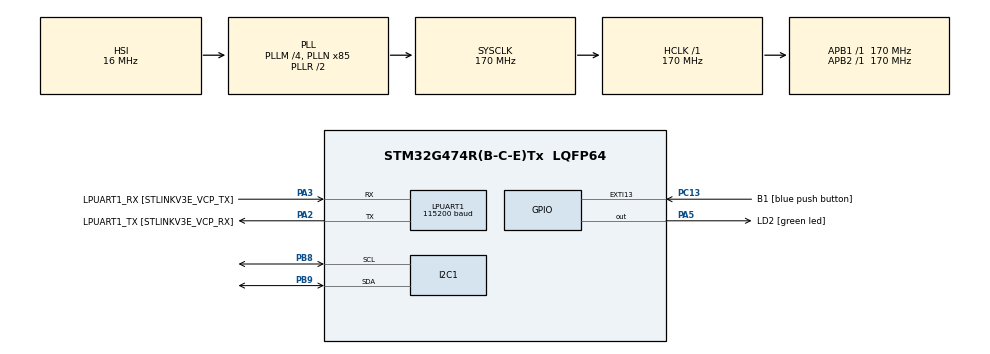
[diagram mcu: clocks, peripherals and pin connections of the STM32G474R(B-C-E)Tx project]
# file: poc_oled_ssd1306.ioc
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I2C1.Timing=0x30A0A7FB
LPUART1.BaudRate=115200
LPUART1.WordLength=UART_WORDLENGTH_8B
Mcu.Family=STM32G4
Mcu.Name=STM32G474R(B-C-E)Tx
Mcu.Package=LQFP64
NVIC.EXTI15_10_IRQn=true\:0\:0\:false\:false\:true\:true\:true\:true
NVIC.PriorityGroup=NVIC_PRIORITYGROUP_4
PA13.GPIO_Label=T_SWDIO
PA13.Mode=Serial_Wire
PA13.Signal=SYS_JTMS-SWDIO
PA14.GPIO_Label=T_SWCLK
PA14.Mode=Serial_Wire
PA14.Signal=SYS_JTCK-SWCLK
PA2.GPIO_Label=LPUART1_TX [STLINKV3E_VCP_RX]
PA2.Mode=Asynchronous
PA2.Signal=LPUART1_TX
PA3.GPIO_Label=LPUART1_RX [STLINKV3E_VCP_TX]
PA3.Mode=Asynchronous
PA3.Signal=LPUART1_RX
PA5.GPIO_Label=LD2 [green led]
PA5.Signal=GPIO_Output
PB3.GPIO_Label=T_SWO
PB3.Signal=SYS_JTDO-SWO
PB8-BOOT0.Mode=I2C
PB8-BOOT0.Signal=I2C1_SCL
PB9.Mode=I2C
PB9.Signal=I2C1_SDA
PC13.GPIO_Label=B1 [blue push button]
PC13.Signal=GPXTI13
PC14-OSC32_IN.Mode=LSE-External-Oscillator
PC14-OSC32_IN.Signal=RCC_OSC32_IN
PC15-OSC32_OUT.Mode=LSE-External-Oscillator
PC15-OSC32_OUT.Signal=RCC_OSC32_OUT
PF0-OSC_IN.Mode=HSE-External-Oscillator
PF0-OSC_IN.Signal=RCC_OSC_IN
PF1-OSC_OUT.Mode=HSE-External-Oscillator
PF1-OSC_OUT.Signal=RCC_OSC_OUT
ProjectManager.HeapSize=0x200
ProjectManager.StackSize=0x400
ProjectManager.TargetToolchain=STM32CubeIDE
RCC.ADC12Freq_Value=170000000
RCC.ADC345Freq_Value=170000000
RCC.AHBFreq_Value=170000000
RCC.APB1Freq_Value=170000000
RCC.APB1TimFreq_Value=170000000
RCC.APB2Freq_Value=170000000
RCC.APB2TimFreq_Value=170000000
RCC.CortexFreq_Value=170000000
RCC.EXTERNAL_CLOCK_VALUE=12288000
RCC.HCLKFreq_Value=170000000
RCC.HSE_VALUE=24000000
RCC.HSI48_VALUE=48000000
RCC.HSI_VALUE=16000000
RCC.PLLM=RCC_PLLM_DIV4
RCC.PLLN=85
RCC.RTCClockSelection=RCC_RTCCLKSOURCE_LSE
RCC.SYSCLKFreq_VALUE=170000000
RCC.SYSCLKSource=RCC_SYSCLKSOURCE_PLLCLK
RCC.USBFreq_Value=170000000
RCC.VCOOutputFreq_Value=340000000
VP_SYS_VS_DBSignals.Mode=DisableDeadBatterySignals
board=NUCLEO-G474RE

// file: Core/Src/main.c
/* USER CODE BEGIN Header */
/**
  ******************************************************************************
  * @file           : main.c
  * @brief          : Main program body
  ******************************************************************************
  * @attention
  *
  * Copyright (c) 2024 STMicroelectronics.
  * All rights reserved.
  *
  * This software is licensed under terms that can be found in the LICENSE file
  * in the root directory of this software component.
  * If no LICENSE file comes with this software, it is provided AS-IS.
  *
  ******************************************************************************
  */
/* USER CODE END Header */
#include "main.h"

/* USER CODE BEGIN Includes */
#include "ssd1306.h"
#include "ssd1306_fonts.h"
/* USER CODE END Includes */

I2C_HandleTypeDef hi2c1;

UART_HandleTypeDef hlpuart1;

/* USER CODE BEGIN PV */
const unsigned char garfield_128x64 [] = {
0x00, 0x00, 0x00, 0x00, 0x00, 0x00, 0x00, 0x00, 0x00, 0x00, 0x00, 0x00, 0x00, 0x00, 0x00, 0x00,
0x00, 0x00, 0x00, 0x00, 0x00, 0x07, 0xFF, 0x00, 0x00, 0x00, 0x00, 0x00, 0x00, 0x00, 0x00, 0x00,
0x00, 0x00, 0x00, 0x00, 0x00, 0x1F, 0xFF, 0xF8, 0x7F, 0xE0, 0x00, 0x00, 0x00, 0x00, 0x00, 0x00,
0x00, 0x00, 0x00, 0x00, 0x00, 0x3F, 0xFF, 0xCF, 0xFF, 0xFE, 0x00, 0x00, 0x00, 0x00, 0x00, 0x00,
0x00, 0x00, 0x00, 0x00, 0x00, 0x3F, 0xFB, 0xE3, 0xFF, 0xF3, 0x80, 0x00, 0x00, 0x00, 0x00, 0x00,
0x00, 0x00, 0x00, 0x00, 0x00, 0x3F, 0xC0, 0xF3, 0xFF, 0xF8, 0xE0, 0x00, 0x00, 0x00, 0x00, 0x00,
0x00, 0x00, 0x00, 0x00, 0x00, 0x1F, 0x00, 0x1F, 0xD9, 0xFC, 0x38, 0x00, 0x00, 0x00, 0x00, 0x00,
0x00, 0x00, 0x00, 0x00, 0x00, 0x0D, 0x00, 0x0F, 0x00, 0x1E, 0x0C, 0x00, 0x00, 0x00, 0x00, 0x00,
0x00, 0x00, 0x00, 0x00, 0x0C, 0x0C, 0x0E, 0x1F, 0xF8, 0x03, 0x04, 0x00, 0x00, 0x00, 0x00, 0x00,
0x00, 0x00, 0x00, 0x00, 0x03, 0x87, 0xF0, 0x07, 0x00, 0x01, 0x86, 0x00, 0x00, 0x00, 0x00, 0x00,
0x00, 0x00, 0x00, 0x00, 0x18, 0x3B, 0x80, 0x18, 0x00, 0x30, 0xC3, 0x00, 0x00, 0x00, 0x00, 0x00,
0x00, 0x00, 0x00, 0x00, 0x00, 0xFE, 0x00, 0x60, 0x00, 0x18, 0xC3, 0x01, 0xC0, 0x00, 0x00, 0x00,
0x00, 0x00, 0x00, 0x00, 0x3F, 0xFC, 0x01, 0x80, 0x00, 0x0F, 0xC3, 0x8F, 0xC0, 0x00, 0x00, 0x00,
0x00, 0x00, 0x00, 0x00, 0x07, 0xF0, 0x03, 0x00, 0x00, 0x0C, 0x07, 0xF0, 0x00, 0x00, 0x00, 0x00,
0x00, 0x00, 0x00, 0x00, 0x0F, 0xE0, 0x0C, 0x00, 0x00, 0x0C, 0x07, 0xFF, 0xF8, 0x00, 0x00, 0x00,
0x00, 0x00, 0x00, 0x00, 0x38, 0xC0, 0x18, 0x00, 0x00, 0x08, 0x0F, 0xFF, 0xF0, 0x00, 0x00, 0x00,
0x00, 0x00, 0x00, 0x00, 0x71, 0x80, 0x30, 0x00, 0x00, 0x08, 0x0F, 0xFC, 0xFC, 0x00, 0x00, 0x00,
0x00, 0x00, 0x00, 0x00, 0xF7, 0x00, 0x60, 0x00, 0x00, 0x18, 0x3F, 0xFE, 0x00, 0x00, 0x00, 0x00,
0x00, 0x00, 0x00, 0x01, 0xFF, 0x00, 0x60, 0x00, 0x00, 0x18, 0x7F, 0xFE, 0x00, 0x00, 0x00, 0x00,
0x00, 0x00, 0x00, 0x03, 0xFF, 0x00, 0xC0, 0x00, 0x00, 0x30, 0xFF, 0x1F, 0x00, 0x00, 0x00, 0x00,
0x00, 0x00, 0x00, 0x03, 0x83, 0xE0, 0xC0, 0x00, 0x00, 0x60, 0x00, 0x03, 0x00, 0x00, 0x00, 0x00,
0x00, 0x00, 0x00, 0x07, 0x03, 0x1F, 0xFF, 0xFF, 0xFF, 0xC0, 0x00, 0x03, 0x80, 0x00, 0x00, 0x00,
0x00, 0x00, 0x00, 0x0E, 0x01, 0x00, 0xE7, 0xC0, 0x03, 0x80, 0x00, 0x0F, 0x80, 0x00, 0x00, 0x00,
0x00, 0x00, 0x00, 0x0F, 0x01, 0x80, 0xE0, 0x00, 0x06, 0x00, 0x00, 0xFF, 0x80, 0x00, 0x00, 0x00,
0x00, 0x00, 0x00, 0x0F, 0x83, 0x7F, 0xF0, 0x00, 0x38, 0x00, 0x26, 0xFF, 0x80, 0x00, 0x00, 0x00,
0x00, 0x00, 0x00, 0x0F, 0xDC, 0x18, 0x1F, 0x87, 0xE0, 0x00, 0x26, 0xEF, 0x80, 0x00, 0x00, 0x00,
0x00, 0x00, 0x00, 0x0F, 0xB8, 0x0E, 0x18, 0x00, 0x30, 0x00, 0x04, 0xCF, 0x80, 0x00, 0x00, 0x00,
0x00, 0x00, 0x00, 0x0F, 0x30, 0x0F, 0xC0, 0x00, 0x18, 0x00, 0x00, 0x8F, 0x80, 0x00, 0x00, 0x00,
0x00, 0x00, 0x00, 0x07, 0x30, 0x38, 0x70, 0x00, 0x18, 0x00, 0x00, 0x0F, 0x00, 0x00, 0x00, 0x00,
0x00, 0x00, 0x00, 0x07, 0x18, 0x00, 0x1F, 0x00, 0x18, 0x3B, 0x80, 0x0E, 0x00, 0x00, 0x00, 0x00,
0x00, 0x00, 0x00, 0x03, 0x8E, 0x00, 0x03, 0x80, 0x70, 0x1F, 0xF8, 0x1C, 0x00, 0x00, 0x00, 0x00,
0x00, 0x00, 0x00, 0x01, 0xFF, 0x80, 0x00, 0x03, 0xE0, 0x1F, 0xFF, 0xF8, 0x00, 0x00, 0x00, 0x00,
0x00, 0x00, 0x00, 0x00, 0x7F, 0x86, 0x00, 0x3F, 0x1F, 0x07, 0xFF, 0xE0, 0x00, 0x00, 0x00, 0x00,
0x00, 0x00, 0x00, 0x00, 0x0F, 0xC3, 0x00, 0x00, 0x3F, 0x01, 0xFF, 0x80, 0x00, 0x00, 0x00, 0x00,
0x00, 0x00, 0x00, 0x00, 0x01, 0xFF, 0x80, 0x00, 0x3F, 0xC7, 0xFC, 0x00, 0x00, 0x00, 0x00, 0x00,
0x00, 0x00, 0x00, 0x00, 0x00, 0x73, 0xE0, 0x07, 0xFF, 0xFF, 0xF8, 0x00, 0x00, 0x00, 0x00, 0x00,
0x00, 0x00, 0x00, 0x00, 0x00, 0xC0, 0x00, 0x07, 0xC0, 0x3F, 0xF8, 0x00, 0x00, 0x00, 0x00, 0x00,
0x00, 0x00, 0x00, 0x00, 0x03, 0x00, 0x00, 0x00, 0x00, 0x3F, 0xF8, 0x00, 0x00, 0x00, 0x00, 0x00,
0x00, 0x00, 0x00, 0x00, 0x0E, 0x00, 0x00, 0x00, 0x00, 0x3E, 0xF8, 0x00, 0x00, 0x00, 0x00, 0x00,
0x00, 0x00, 0x00, 0x00, 0x18, 0x00, 0x00, 0x00, 0x00, 0xA4, 0xF0, 0x00, 0x00, 0x00, 0x00, 0x00,
0x00, 0x00, 0x00, 0x00, 0x70, 0x00, 0x00, 0x16, 0x01, 0xC0, 0x78, 0x00, 0x00, 0x00, 0x00, 0x00,
0x00, 0x00, 0x00, 0x00, 0xE0, 0x00, 0x00, 0x1E, 0x01, 0xC0, 0x3E, 0x00, 0x00, 0x00, 0x00, 0x00,
0x00, 0x00, 0x00, 0x01, 0xC0, 0x00, 0x00, 0x0C, 0x01, 0x80, 0x3F, 0x00, 0x00, 0x00, 0x00, 0x00,
0x00, 0x00, 0x00, 0x03, 0x80, 0x00, 0x00, 0x04, 0x01, 0xF3, 0xFF, 0xC0, 0x00, 0x00, 0x00, 0x00,
0x00, 0x00, 0x00, 0x07, 0x00, 0x00, 0x00, 0x0C, 0x01, 0xEF, 0xF7, 0xE0, 0x00, 0x00, 0x00, 0x00,
0x00, 0x00, 0x00, 0x0E, 0x00, 0x00, 0x00, 0x18, 0x00, 0x07, 0xF0, 0x60, 0x00, 0x00, 0x00, 0x00,
0x00, 0x00, 0x00, 0x0C, 0x00, 0x00, 0x00, 0x18, 0x00, 0x07, 0x80, 0x70, 0x00, 0x00, 0x00, 0x00,
0x00, 0x00, 0x00, 0x18, 0x00, 0x00, 0x00, 0x30, 0x00, 0x06, 0x04, 0xF0, 0x00, 0x00, 0x00, 0x00,
0x00, 0x00, 0x00, 0x38, 0x00, 0x00, 0x00, 0x60, 0x00, 0x0C, 0x1C, 0xF0, 0x00, 0x00, 0x00, 0x00,
0x00, 0x00, 0x00, 0x30, 0x00, 0x00, 0x00, 0xC0, 0x00, 0x1F, 0xFF, 0xF0, 0x00, 0x00, 0x00, 0x00,
0x00, 0x00, 0x00, 0x30, 0x00, 0x00, 0x01, 0x80, 0x00, 0x01, 0xFD, 0xF0, 0x00, 0x00, 0x00, 0x00,
0x00, 0x00, 0x00, 0x30, 0x00, 0x00, 0x03, 0x00, 0x00, 0x00, 0xFD, 0xF0, 0x00, 0x00, 0x00, 0x00,
0x00, 0x00, 0x00, 0x30, 0x00, 0x00, 0x07, 0x00, 0x00, 0x01, 0xC1, 0xE0, 0x00, 0x00, 0x00, 0x00,
0x00, 0x00, 0x00, 0x18, 0x00, 0x00, 0x07, 0x00, 0x00, 0x03, 0x81, 0xE0, 0x00, 0x00, 0x00, 0x00,
0x00, 0x00, 0x00, 0x0C, 0x00, 0x00, 0x07, 0x00, 0x00, 0x07, 0xFF, 0xC0, 0x00, 0x00, 0x00, 0x00,
0x00, 0x00, 0x00, 0x06, 0x00, 0x00, 0x03, 0xC0, 0x00, 0x39, 0xFF, 0x80, 0x00, 0x00, 0x00, 0x00,
0x00, 0x00, 0x00, 0x03, 0x80, 0x00, 0x01, 0xF0, 0x01, 0xE3, 0xFF, 0x00, 0x00, 0x00, 0x00, 0x00,
0x00, 0x00, 0x00, 0x00, 0xE0, 0x00, 0x00, 0x1F, 0x03, 0x8D, 0xFE, 0x00, 0x00, 0x00, 0x00, 0x00,
0x00, 0x00, 0x00, 0x00, 0x1E, 0x00, 0x00, 0x03, 0xFC, 0x3D, 0xFE, 0x00, 0x00, 0x00, 0x00, 0x00,
0x00, 0x00, 0x00, 0x00, 0x01, 0xF8, 0x00, 0x03, 0xC0, 0x3F, 0xFE, 0x00, 0x00, 0x00, 0x00, 0x00,
0x00, 0x00, 0x00, 0x00, 0x00, 0x07, 0xFF, 0xFF, 0xC0, 0x3F, 0xFE, 0x00, 0x00, 0x00, 0x00, 0x00,
0x00, 0x00, 0x00, 0x00, 0x00, 0x03, 0xFF, 0xF1, 0xC0, 0x3F, 0xFE, 0x00, 0x00, 0x00, 0x00, 0x00,
0x00, 0x00, 0x00, 0x00, 0x00, 0x03, 0xFF, 0xE0, 0xC0, 0x3F, 0xFE, 0x00, 0x00, 0x00, 0x00, 0x00,
0x00, 0x00, 0x00, 0x00, 0x00, 0x03, 0xFF, 0xE0, 0xC0, 0x3F, 0x9E, 0x00, 0x00, 0x00, 0x00, 0x00
};

const unsigned char github_logo_64x64[] = {
0x00, 0x00, 0x00, 0x1F, 0xF8, 0x00, 0x00, 0x00, 0x00, 0x00, 0x03, 0xFF, 0xFF, 0x80, 0x00, 0x00,
0x00, 0x00, 0x0F, 0xFF, 0xFF, 0xF0, 0x00, 0x00, 0x00, 0x00, 0x3F, 0xFF, 0xFF, 0xFC, 0x00, 0x00,
0x00, 0x00, 0xFF, 0xFF, 0xFF, 0xFF, 0x00, 0x00, 0x00, 0x03, 0xFF, 0xFF, 0xFF, 0xFF, 0xC0, 0x00,
0x00, 0x07, 0xFF, 0xFF, 0xFF, 0xFF, 0xE0, 0x00, 0x00, 0x0F, 0xFF, 0xFF, 0xFF, 0xFF, 0xF0, 0x00,
0x00, 0x3F, 0xFF, 0xFF, 0xFF, 0xFF, 0xFC, 0x00, 0x00, 0x7F, 0xFF, 0xFF, 0xFF, 0xFF, 0xFE, 0x00,
0x00, 0xFF, 0xFF, 0xFF, 0xFF, 0xFF, 0xFF, 0x00, 0x00, 0xFF, 0xFF, 0xFF, 0xFF, 0xFF, 0xFF, 0x00,
0x01, 0xFF, 0xFF, 0xFF, 0xFF, 0xFF, 0xFF, 0x80, 0x03, 0xFE, 0x3F, 0xFF, 0xFF, 0xFC, 0x7F, 0xC0,
0x07, 0xFE, 0x07, 0xFF, 0xFF, 0xE0, 0x7F, 0xE0, 0x07, 0xFE, 0x01, 0xF8, 0x1F, 0xC0, 0x3F, 0xE0,
0x0F, 0xFC, 0x00, 0x00, 0x00, 0x00, 0x3F, 0xF0, 0x0F, 0xFC, 0x00, 0x00, 0x00, 0x00, 0x3F, 0xF0,
0x1F, 0xFC, 0x00, 0x00, 0x00, 0x00, 0x3F, 0xF8, 0x1F, 0xFC, 0x00, 0x00, 0x00, 0x00, 0x3F, 0xF8,
0x3F, 0xFE, 0x00, 0x00, 0x00, 0x00, 0x3F, 0xFC, 0x3F, 0xFE, 0x00, 0x00, 0x00, 0x00, 0x7F, 0xFC,
0x7F, 0xFC, 0x00, 0x00, 0x00, 0x00, 0x3F, 0xFC, 0x7F, 0xFC, 0x00, 0x00, 0x00, 0x00, 0x1F, 0xFE,
0x7F, 0xF8, 0x00, 0x00, 0x00, 0x00, 0x1F, 0xFE, 0x7F, 0xF8, 0x00, 0x00, 0x00, 0x00, 0x0F, 0xFE,
0x7F, 0xF0, 0x00, 0x00, 0x00, 0x00, 0x0F, 0xFE, 0xFF, 0xF0, 0x00, 0x00, 0x00, 0x00, 0x0F, 0xFF,
0xFF, 0xF0, 0x00, 0x00, 0x00, 0x00, 0x0F, 0xFF, 0xFF, 0xF0, 0x00, 0x00, 0x00, 0x00, 0x07, 0xFF,
0xFF, 0xF0, 0x00, 0x00, 0x00, 0x00, 0x07, 0xFF, 0xFF, 0xF0, 0x00, 0x00, 0x00, 0x00, 0x07, 0xFF,
0xFF, 0xF0, 0x00, 0x00, 0x00, 0x00, 0x0F, 0xFF, 0xFF, 0xF0, 0x00, 0x00, 0x00, 0x00, 0x0F, 0xFF,
0xFF, 0xF0, 0x00, 0x00, 0x00, 0x00, 0x0F, 0xFF, 0xFF, 0xF0, 0x00, 0x00, 0x00, 0x00, 0x0F, 0xFF,
0xFF, 0xF0, 0x00, 0x00, 0x00, 0x00, 0x0F, 0xFF, 0x7F, 0xF8, 0x00, 0x00, 0x00, 0x00, 0x1F, 0xFE,
0x7F, 0xF8, 0x00, 0x00, 0x00, 0x00, 0x1F, 0xFE, 0x7F, 0xFC, 0x00, 0x00, 0x00, 0x00, 0x3F, 0xFE,
0x7F, 0xFC, 0x00, 0x00, 0x00, 0x00, 0x3F, 0xFE, 0x7F, 0xFE, 0x00, 0x00, 0x00, 0x00, 0x7F, 0xFC,
0x3F, 0xFF, 0x00, 0x00, 0x00, 0x00, 0xFF, 0xFC, 0x3F, 0xFF, 0xC0, 0x00, 0x00, 0x01, 0xFF, 0xFC,
0x1F, 0x9F, 0xE0, 0x00, 0x00, 0x07, 0xFF, 0xF8, 0x1F, 0x87, 0xFC, 0x00, 0x00, 0x3F, 0xFF, 0xF8,
0x0F, 0xC3, 0xFF, 0xC0, 0x01, 0xFF, 0xFF, 0xF0, 0x0F, 0xE1, 0xFF, 0x80, 0x01, 0xFF, 0xFF, 0xF0,
0x07, 0xF1, 0xFF, 0x80, 0x00, 0xFF, 0xFF, 0xE0, 0x07, 0xF0, 0xFF, 0x00, 0x00, 0xFF, 0xFF, 0xE0,
0x03, 0xF8, 0x3F, 0x00, 0x00, 0xFF, 0xFF, 0xC0, 0x01, 0xF8, 0x00, 0x00, 0x00, 0xFF, 0xFF, 0x80,
0x00, 0xFC, 0x00, 0x00, 0x00, 0xFF, 0xFF, 0x00, 0x00, 0xFE, 0x00, 0x00, 0x00, 0xFF, 0xFF, 0x00,
0x00, 0x7F, 0x00, 0x00, 0x00, 0xFF, 0xFE, 0x00, 0x00, 0x3F, 0xFF, 0x00, 0x00, 0xFF, 0xFC, 0x00,
0x00, 0x0F, 0xFF, 0x00, 0x00, 0xFF, 0xF0, 0x00, 0x00, 0x07, 0xFF, 0x00, 0x00, 0xFF, 0xE0, 0x00,
0x00, 0x03, 0xFF, 0x00, 0x00, 0xFF, 0xC0, 0x00, 0x00, 0x00, 0xFF, 0x00, 0x00, 0xFF, 0x00, 0x00,
0x00, 0x00, 0x3F, 0x00, 0x00, 0xFC, 0x00, 0x00, 0x00, 0x00, 0x0F, 0x00, 0x00, 0xF0, 0x00, 0x00,
0x00, 0x00, 0x00, 0x00, 0x00, 0x00, 0x00, 0x00, 0x00, 0x00, 0x00, 0x00, 0x00, 0x00, 0x00, 0x00
};

const unsigned char snoopy_48x48 [] = {
	0xff, 0xff, 0xff, 0xff, 0xff, 0xff, 0xff, 0xff, 0xff, 0xff, 0xff, 0xff, 0xff, 0xff, 0xff, 0xff,
	0xff, 0xff, 0xff, 0xfc, 0x07, 0xff, 0xff, 0xff, 0xff, 0xfb, 0xf9, 0xff, 0xff, 0xff, 0xff, 0xf7,
	0xfc, 0x7f, 0xff, 0xff, 0xff, 0xef, 0xff, 0x80, 0x7f, 0xff, 0xff, 0xef, 0xff, 0xff, 0x9f, 0xff,
	0xff, 0xdf, 0xff, 0xff, 0xcf, 0xff, 0xff, 0xdf, 0xff, 0x7f, 0xef, 0xff, 0xff, 0xdf, 0xfe, 0x7f,
	0xf7, 0xff, 0xff, 0xbf, 0xff, 0xff, 0xf7, 0xff, 0xff, 0x81, 0xff, 0xff, 0xf0, 0xff, 0xff, 0x40,
	0xff, 0xff, 0xf2, 0xff, 0xff, 0x48, 0x7f, 0xff, 0xf0, 0xff, 0xff, 0x40, 0x7f, 0xff, 0xf0, 0xff,
	0xff, 0x40, 0xbf, 0xff, 0xe7, 0xff, 0xff, 0x40, 0x3f, 0xff, 0xcf, 0xff, 0xff, 0x80, 0x3f, 0xff,
	0x3f, 0xff, 0xff, 0xa0, 0x3f, 0xfc, 0xff, 0xff, 0xff, 0xc0, 0x3f, 0xf3, 0xff, 0xff, 0xff, 0xe0,
	0x8f, 0x9f, 0xff, 0xff, 0xff, 0xe7, 0x77, 0xbf, 0xff, 0xff, 0xff, 0xf8, 0xfb, 0x3f, 0xff, 0xff,
	0xff, 0xff, 0xf8, 0x1f, 0xff, 0xff, 0xff, 0xff, 0xfb, 0xcf, 0xff, 0xff, 0xff, 0xff, 0xfb, 0xef,
	0xff, 0xff, 0xff, 0xff, 0xf7, 0xf7, 0xff, 0xff, 0xff, 0xff, 0xf7, 0xf3, 0xff, 0xff, 0xff, 0xff,
	0xf7, 0x7b, 0xff, 0xff, 0xff, 0xff, 0xf7, 0x7d, 0xff, 0xff, 0xff, 0xff, 0xe7, 0xfd, 0xff, 0xff,
	0xff, 0xff, 0xe3, 0xbd, 0xff, 0xff, 0xff, 0xff, 0xe7, 0xbc, 0xff, 0xff, 0xff, 0xff, 0xe7, 0xbc,
	0xff, 0xff, 0xff, 0xff, 0xe9, 0xb9, 0xff, 0xff, 0xff, 0xff, 0x24, 0x73, 0xff, 0xff, 0xff, 0xfe,
	0xe7, 0xef, 0xff, 0xff, 0xff, 0xff, 0xb7, 0xdf, 0xff, 0xff, 0xff, 0xff, 0xf6, 0x7f, 0xff, 0xff,
	0xff, 0xff, 0xf7, 0x60, 0xff, 0xff, 0xff, 0xff, 0xff, 0x07, 0x7f, 0xff, 0xff, 0xff, 0xef, 0xfd,
	0xbf, 0xff, 0xff, 0xff, 0xdf, 0xfe, 0x3f, 0xff, 0xff, 0xff, 0xbf, 0xd6, 0x3f, 0xff, 0xff, 0xff,
	0x80, 0xd1, 0xff, 0xff, 0xff, 0xff, 0xff, 0x2f, 0xff, 0xff, 0xff, 0xff, 0xff, 0xff, 0xff, 0xff
};

const unsigned char woodstock [] = {
	0xff, 0xff, 0xf0, 0xfb, 0x7f, 0xf0, 0xe9, 0x27, 0xf0, 0xf4, 0x9f, 0xf0, 0xf3, 0xf3, 0xf0, 0xf7,
	0xf9, 0xf0, 0xe7, 0xff, 0xf0, 0x9b, 0xe7, 0xf0, 0x3f, 0xf7, 0xb0, 0x7f, 0x5e, 0x50, 0x3e, 0xbd,
	0xe0, 0x80, 0x85, 0x10, 0xff, 0x05, 0x70, 0xfc, 0x60, 0xf0, 0xfc, 0x78, 0xf0, 0xff, 0x70, 0xf0,
	0xff, 0x84, 0x70, 0xff, 0xf2, 0xf0, 0xff, 0xf2, 0xf0, 0xff, 0xf1, 0xf0
};

/* USER CODE END PV */

void SystemClock_Config(void);
static void MX_GPIO_Init(void);
static void MX_LPUART1_UART_Init(void);
static void MX_I2C1_Init(void);

int main(void)
{

  /* MCU Configuration--------------------------------------------------------*/

  /* Reset of all peripherals, Initializes the Flash interface and the Systick. */
  HAL_Init();

  /* Configure the system clock */
  SystemClock_Config();

  /* Initialize all configured peripherals */
  MX_GPIO_Init();
  MX_LPUART1_UART_Init();
  MX_I2C1_Init();
  /* USER CODE BEGIN 2 */
  ssd1306_Init();

  //ssd1306_DrawBitmap(0,0,garfield_128x64,128,64,White);
  //ssd1306_DrawBitmap(0,0,github_logo_64x64,64,64,White);
  ssd1306_FillRectangle(0, 0, 108, 15, White);
  ssd1306_FillRectangle(64, 16, 128, 64, White);
  ssd1306_DrawBitmap(108, 0, woodstock, 20, 20, White);
  ssd1306_DrawBitmap(0,16,snoopy_48x48,48,48,White);
  ssd1306_FillRectangle(48, 16, 64, 63, White);
  ssd1306_UpdateScreen();

  /*HAL_Delay(3000);
  ssd1306_Fill(Black);

  ssd1306_FillRectangle(0, 0, 128, 15, White);

  ssd1306_SetCursor(4,4);
  ssd1306_WriteString("6x8", Font_6x8, Black);

  ssd1306_SetCursor(26,3);
  ssd1306_WriteString("7x10", Font_7x10, Black);

  ssd1306_SetCursor(0,16);
  ssd1306_WriteString("16x15", Font_16x15, White);

  ssd1306_SetCursor(0,31);
  ssd1306_WriteString("11x18", Font_11x18, White);

  //ssd1306_SetCursor(0,16);
  //ssd1306_WriteString("16x26", Font_16x26, White);

  //ssd1306_SetCursor(0,40);
  //ssd1306_WriteString("16x24", Font_16x24, White);

  ssd1306_DrawCircle(7, 56, 7, White);
  ssd1306_DrawRectangle(21, 49, 35, 63, White);

  // Draw a triangle
  SSD1306_VERTEX vertexes[4];
  vertexes[0] = (SSD1306_VERTEX){.x = 47, .y = 49};
  vertexes[1] = (SSD1306_VERTEX){.x = 40, .y = 63};
  vertexes[2] = (SSD1306_VERTEX){.x = 54, .y = 63};
  vertexes[3] = (SSD1306_VERTEX){.x = 47, .y = 49};
  ssd1306_Polyline(vertexes, 4, White);

  ssd1306_UpdateScreen();*/
  /* USER CODE END 2 */

  /* Infinite loop */
  while (1)
  {

  }
}

void SystemClock_Config(void)
{
  RCC_OscInitTypeDef RCC_OscInitStruct = {0};
  RCC_ClkInitTypeDef RCC_ClkInitStruct = {0};

  /** Configure the main internal regulator output voltage
  */
  HAL_PWREx_ControlVoltageScaling(PWR_REGULATOR_VOLTAGE_SCALE1_BOOST);

  /** Initializes the RCC Oscillators according to the specified parameters
  * in the RCC_OscInitTypeDef structure.
  */
  RCC_OscInitStruct.OscillatorType = RCC_OSCILLATORTYPE_HSI;
  RCC_OscInitStruct.HSIState = RCC_HSI_ON;
  RCC_OscInitStruct.HSICalibrationValue = RCC_HSICALIBRATION_DEFAULT;
  RCC_OscInitStruct.PLL.PLLState = RCC_PLL_ON;
  RCC_OscInitStruct.PLL.PLLSource = RCC_PLLSOURCE_HSI;
  RCC_OscInitStruct.PLL.PLLM = RCC_PLLM_DIV4;
  RCC_OscInitStruct.PLL.PLLN = 85;
  RCC_OscInitStruct.PLL.PLLP = RCC_PLLP_DIV2;
  RCC_OscInitStruct.PLL.PLLQ = RCC_PLLQ_DIV2;
  RCC_OscInitStruct.PLL.PLLR = RCC_PLLR_DIV2;
  if (HAL_RCC_OscConfig(&RCC_OscInitStruct) != HAL_OK)
  {
    Error_Handler();
  }

  /** Initializes the CPU, AHB and APB buses clocks
  */
  RCC_ClkInitStruct.ClockType = RCC_CLOCKTYPE_HCLK|RCC_CLOCKTYPE_SYSCLK
                              |RCC_CLOCKTYPE_PCLK1|RCC_CLOCKTYPE_PCLK2;
  RCC_ClkInitStruct.SYSCLKSource = RCC_SYSCLKSOURCE_PLLCLK;
  RCC_ClkInitStruct.AHBCLKDivider = RCC_SYSCLK_DIV1;
  RCC_ClkInitStruct.APB1CLKDivider = RCC_HCLK_DIV1;
  RCC_ClkInitStruct.APB2CLKDivider = RCC_HCLK_DIV1;

  if (HAL_RCC_ClockConfig(&RCC_ClkInitStruct, FLASH_LATENCY_4) != HAL_OK)
  {
    Error_Handler();
  }
}

static void MX_I2C1_Init(void)
{

  hi2c1.Instance = I2C1;
  hi2c1.Init.Timing = 0x30A0A7FB;
  hi2c1.Init.OwnAddress1 = 0;
  hi2c1.Init.AddressingMode = I2C_ADDRESSINGMODE_7BIT;
  hi2c1.Init.DualAddressMode = I2C_DUALADDRESS_DISABLE;
  hi2c1.Init.OwnAddress2 = 0;
  hi2c1.Init.OwnAddress2Masks = I2C_OA2_NOMASK;
  hi2c1.Init.GeneralCallMode = I2C_GENERALCALL_DISABLE;
  hi2c1.Init.NoStretchMode = I2C_NOSTRETCH_DISABLE;
  if (HAL_I2C_Init(&hi2c1) != HAL_OK)
  {
    Error_Handler();
  }

  /** Configure Analogue filter
  */
  if (HAL_I2CEx_ConfigAnalogFilter(&hi2c1, I2C_ANALOGFILTER_ENABLE) != HAL_OK)
  {
    Error_Handler();
  }

  /** Configure Digital filter
  */
  if (HAL_I2CEx_ConfigDigitalFilter(&hi2c1, 0) != HAL_OK)
  {
    Error_Handler();
  }

}

static void MX_LPUART1_UART_Init(void)
{

  hlpuart1.Instance = LPUART1;
  hlpuart1.Init.BaudRate = 115200;
  hlpuart1.Init.WordLength = UART_WORDLENGTH_8B;
  hlpuart1.Init.StopBits = UART_STOPBITS_1;
  hlpuart1.Init.Parity = UART_PARITY_NONE;
  hlpuart1.Init.Mode = UART_MODE_TX_RX;
  hlpuart1.Init.HwFlowCtl = UART_HWCONTROL_NONE;
  hlpuart1.Init.OneBitSampling = UART_ONE_BIT_SAMPLE_DISABLE;
  hlpuart1.Init.ClockPrescaler = UART_PRESCALER_DIV1;
  hlpuart1.AdvancedInit.AdvFeatureInit = UART_ADVFEATURE_NO_INIT;
  if (HAL_UART_Init(&hlpuart1) != HAL_OK)
  {
    Error_Handler();
  }
  if (HAL_UARTEx_SetTxFifoThreshold(&hlpuart1, UART_TXFIFO_THRESHOLD_1_8) != HAL_OK)
  {
    Error_Handler();
  }
  if (HAL_UARTEx_SetRxFifoThreshold(&hlpuart1, UART_RXFIFO_THRESHOLD_1_8) != HAL_OK)
  {
    Error_Handler();
  }
  if (HAL_UARTEx_DisableFifoMode(&hlpuart1) != HAL_OK)
  {
    Error_Handler();
  }

}

static void MX_GPIO_Init(void)
{
  GPIO_InitTypeDef GPIO_InitStruct = {0};

  /* GPIO Ports Clock Enable */
  __HAL_RCC_GPIOC_CLK_ENABLE();
  __HAL_RCC_GPIOF_CLK_ENABLE();
  __HAL_RCC_GPIOA_CLK_ENABLE();
  __HAL_RCC_GPIOB_CLK_ENABLE();

  /*Configure GPIO pin Output Level */
  HAL_GPIO_WritePin(LD2_GPIO_Port, LD2_Pin, GPIO_PIN_RESET);

  /*Configure GPIO pin : B1_Pin */
  GPIO_InitStruct.Pin = B1_Pin;
  GPIO_InitStruct.Mode = GPIO_MODE_IT_RISING;
  GPIO_InitStruct.Pull = GPIO_NOPULL;
  HAL_GPIO_Init(B1_GPIO_Port, &GPIO_InitStruct);

  /*Configure GPIO pin : LD2_Pin */
  GPIO_InitStruct.Pin = LD2_Pin;
  GPIO_InitStruct.Mode = GPIO_MODE_OUTPUT_PP;
  GPIO_InitStruct.Pull = GPIO_NOPULL;
  GPIO_InitStruct.Speed = GPIO_SPEED_FREQ_LOW;
  HAL_GPIO_Init(LD2_GPIO_Port, &GPIO_InitStruct);

  /* EXTI interrupt init*/
  HAL_NVIC_SetPriority(EXTI15_10_IRQn, 0, 0);
  HAL_NVIC_EnableIRQ(EXTI15_10_IRQn);

}

void Error_Handler(void)
{
  __disable_irq();
  while (1)
  {
  }
}
